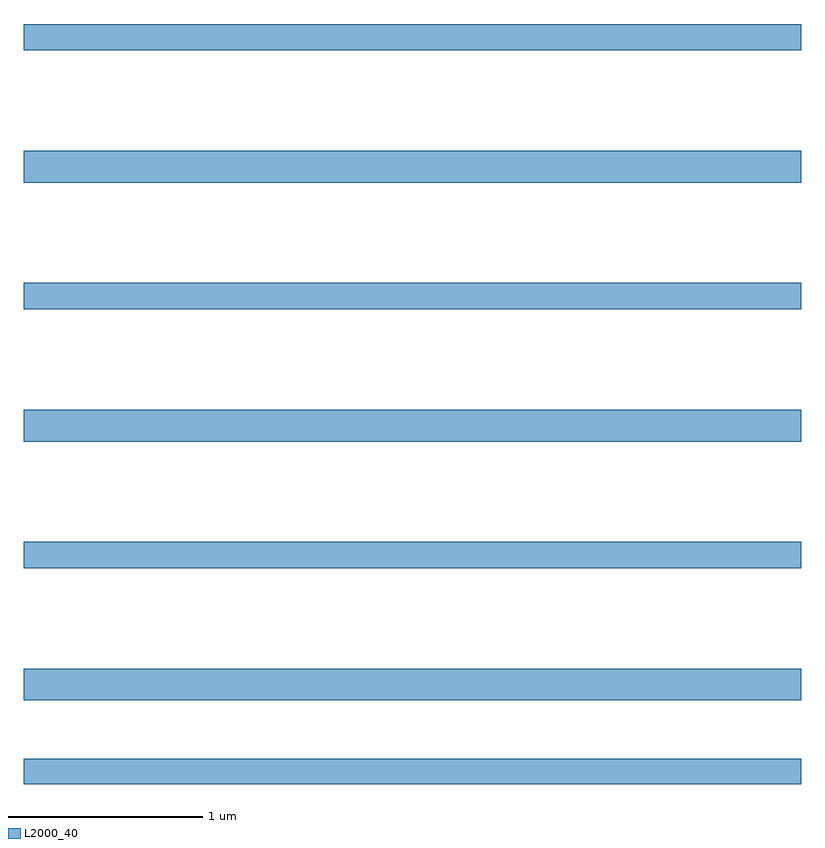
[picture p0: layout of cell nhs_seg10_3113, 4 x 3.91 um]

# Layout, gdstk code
import gdstk
lib = gdstk.Library(unit=1e-6, precision=1e-09)
def R(c, l, rs):  # rectangles x0, y0, x1, y1
    for r in rs: c.add(gdstk.rectangle(r[:2], r[2:], *l))
def A(c, l, x, y, w, h, nx, ny, dx, dy):  # array of equal rectangles
    R(c, l, [(x+i*dx, y+j*dy, x+i*dx+w, y+j*dy+h) for i in range(nx) for j in range(ny)])
L2000_40 = (2000, 40)

nhs_seg10_3113 = lib.new_cell('nhs_seg10_3113')
A(nhs_seg10_3113, L2000_40, 279, 1322.96, 4, 0.164, 1, 3, 0, 1.332)
A(nhs_seg10_3113, L2000_40, 279, 1323.64, 4, 0.136, 1, 3, 0, 1.332)
R(nhs_seg10_3113, L2000_40, [(279,1322.53,283,1322.659)])

lib.write_gds('nhs_seg10_3113.gds')
